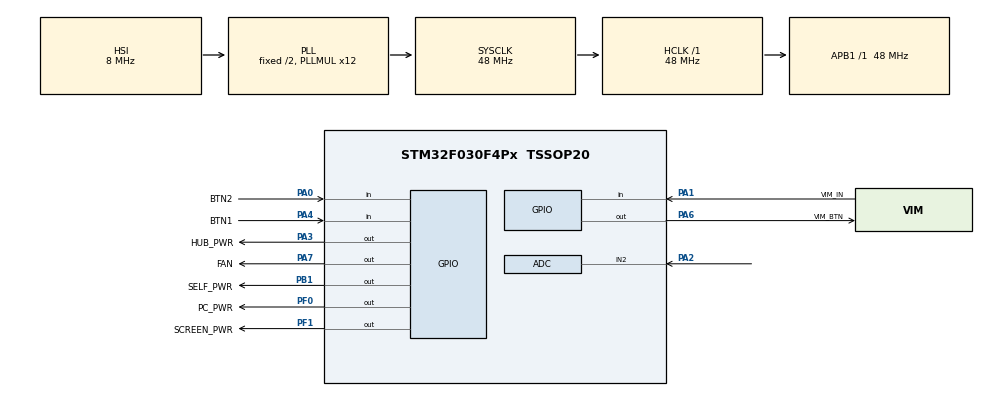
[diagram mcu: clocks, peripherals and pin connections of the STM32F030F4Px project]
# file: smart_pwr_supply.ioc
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ADC.SamplingTime=ADC_SAMPLETIME_55CYCLES_5
Mcu.Family=STM32F0
Mcu.Name=STM32F030F4Px
Mcu.Package=TSSOP20
PA0.GPIO_Label=BTN2
PA0.Signal=GPIO_Input
PA1.GPIO_Label=VIM_IN
PA1.Signal=GPIO_Input
PA13.Mode=Serial_Wire
PA13.Signal=SYS_SWDIO
PA14.Mode=Serial_Wire
PA14.Signal=SYS_SWCLK
PA2.Mode=IN2
PA2.Signal=ADC_IN2
PA3.GPIO_Label=HUB_PWR
PA3.Signal=GPIO_Output
PA4.GPIO_Label=BTN1
PA4.Signal=GPIO_Input
PA6.GPIO_Label=VIM_BTN
PA6.Signal=GPIO_Output
PA7.GPIO_Label=FAN
PA7.Signal=GPIO_Output
PB1.GPIO_Label=SELF_PWR
PB1.PinState=GPIO_PIN_SET
PB1.Signal=GPIO_Output
PF0-OSC_IN.GPIO_Label=PC_PWR
PF0-OSC_IN.Signal=GPIO_Output
PF1-OSC_OUT.GPIO_Label=SCREEN_PWR
PF1-OSC_OUT.Signal=GPIO_Output
ProjectManager.HeapSize=0x200
ProjectManager.StackSize=0x400
ProjectManager.TargetToolchain=TrueSTUDIO
RCC.AHBFreq_Value=48000000
RCC.APB1Freq_Value=48000000
RCC.APB1TimFreq_Value=48000000
RCC.HCLKFreq_Value=48000000
RCC.I2c1ClockSelection=RCC_I2C1CLKSOURCE_SYSCLK
RCC.PLLMUL=RCC_PLL_MUL12
RCC.SYSCLKFreq_VALUE=48000000
RCC.SYSCLKSource=RCC_SYSCLKSOURCE_PLLCLK
board=custom

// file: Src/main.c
/* USER CODE BEGIN Header */
/**
 ******************************************************************************
 * @file           : main.c
 * @brief          : Main program body
 ******************************************************************************
 * @attention
 *
 * <h2><center>&copy; Copyright (c) 2019 STMicroelectronics.
 * All rights reserved.</center></h2>
 *
 * This software component is licensed by ST under BSD 3-Clause license,
 * the "License"; You may not use this file except in compliance with the
 * License. You may obtain a copy of the License at:
 *                        opensource.org/licenses/BSD-3-Clause
 *
 ******************************************************************************
 */
/* USER CODE END Header */

#include "main.h"

/* USER CODE BEGIN Includes */
#include "arm_math.h"
#include "stdlib.h"
#include <stdbool.h>
#include "ssd1306.h"
#include "fonts.h"
/* USER CODE END Includes */

/* USER CODE BEGIN PTD */
const uint8_t SUSPEND_TIME=10;
const uint8_t SHUTDOWN_TIME=30;
const uint16_t SHUTDOWN_KEYPRESS_TIME=1000; //milliseconds
const uint16_t SHUTDOWN_CHECK_INTERVAL=20; //seconds
const uint8_t VIM_START_DELAY=10; //seconds
/* USER CODE END PTD */

ADC_HandleTypeDef hadc;

/* USER CODE BEGIN PV */

struct screen_str {
	bool enabled;
};

struct acc_str {
	bool enabled;
	bool low;
	uint16_t voltage;
	uint32_t time_to_suspend;
	uint32_t time_to_shutdown;
};

struct vim_str {
	bool enabled;
	bool sleep;
	bool voltage;
	uint8_t shutdown_count;
};

struct itps_str {
	bool enabled;
	uint32_t time_to_action;
};

struct hub_str {
	bool enabled;
};
struct screen_str SCREEN;
struct vim_str VIM;
struct itps_str ITPS;
struct hub_str HUB;
struct acc_str ACC;

uint32_t now, next;
float t;
/* USER CODE END PV */

void SystemClock_Config(void);
static void MX_GPIO_Init(void);
static void MX_ADC_Init(void);

/* USER CODE BEGIN 0 */
uint16_t readADC() {
	uint16_t adc = 0;
	HAL_ADC_Start(&hadc);
	if (HAL_ADC_PollForConversion(&hadc, 100) != HAL_OK) {
		Error_Handler();
	} else {
		adc = HAL_ADC_GetValue(&hadc);
	}
	HAL_ADC_Stop(&hadc);
	return adc;
}

bool checkVIM() {
	VIM.voltage = HAL_GPIO_ReadPin(GPIOA, GPIO_PIN_1);
	if (VIM.voltage == true)
		return 1;
	else
		return 0;
}

void EnableScreen(bool force) {
	if (SCREEN.enabled == false) {
		HAL_GPIO_WritePin(SCREEN_PWR_GPIO_Port, SCREEN_PWR_Pin, GPIO_PIN_SET);
		SCREEN.enabled = true;
	}
	if (force) {
		HAL_GPIO_WritePin(SCREEN_PWR_GPIO_Port, SCREEN_PWR_Pin, GPIO_PIN_SET);
		SCREEN.enabled = true;
	}
}

void EnableVIM(bool force) {
	if (VIM.enabled == false) {
		HAL_GPIO_WritePin(FAN_GPIO_Port, FAN_Pin, GPIO_PIN_SET);
		HAL_GPIO_WritePin(PC_PWR_GPIO_Port, PC_PWR_Pin, GPIO_PIN_SET);
		VIM.enabled = true;
	}
	if (force) {
		HAL_GPIO_WritePin(PC_PWR_GPIO_Port, PC_PWR_Pin, GPIO_PIN_SET);
		HAL_GPIO_WritePin(FAN_GPIO_Port, FAN_Pin, GPIO_PIN_SET);
		VIM.enabled = true;
	}
}

void EnableHUB(bool force) {
	if (HUB.enabled == false) {
		HAL_GPIO_WritePin(HUB_PWR_GPIO_Port, HUB_PWR_Pin, GPIO_PIN_SET);
		HUB.enabled = true;
	}
	if (force) {
		HAL_GPIO_WritePin(HUB_PWR_GPIO_Port, HUB_PWR_Pin, GPIO_PIN_SET);
		HUB.enabled = true;
	}
}

void DisableScreen(bool force) {
	if (SCREEN.enabled == true) {
		HAL_GPIO_WritePin(SCREEN_PWR_GPIO_Port, SCREEN_PWR_Pin, GPIO_PIN_RESET);
		SCREEN.enabled = false;
	}
	if (force) {
		HAL_GPIO_WritePin(SCREEN_PWR_GPIO_Port, SCREEN_PWR_Pin, GPIO_PIN_RESET);
		SCREEN.enabled = false;
	}
}

void DisableVIM(bool force) {
	if (VIM.enabled == true) {
		HAL_GPIO_WritePin(FAN_GPIO_Port, FAN_Pin, GPIO_PIN_RESET);
		HAL_GPIO_WritePin(PC_PWR_GPIO_Port, PC_PWR_Pin, GPIO_PIN_RESET);
		VIM.enabled = false;
		VIM.sleep = false;
	}
	if (force) {
		HAL_GPIO_WritePin(FAN_GPIO_Port, FAN_Pin, GPIO_PIN_RESET);
		HAL_GPIO_WritePin(PC_PWR_GPIO_Port, PC_PWR_Pin, GPIO_PIN_RESET);
		VIM.enabled = false;
		VIM.sleep = false;
	}
}

void DisableHUB(bool force) {
	if (HUB.enabled == true) {
		HAL_GPIO_WritePin(HUB_PWR_GPIO_Port, HUB_PWR_Pin, GPIO_PIN_RESET);
		HUB.enabled = false;
	}
	if (force) {
		HAL_GPIO_WritePin(HUB_PWR_GPIO_Port, HUB_PWR_Pin, GPIO_PIN_RESET);
		HUB.enabled = false;
	}
}

void DisableITPS() {
	HAL_GPIO_WritePin(SELF_PWR_GPIO_Port, SELF_PWR_Pin, GPIO_PIN_RESET);
	ITPS.enabled = false;
}

void SuspendVIM() {
	if (VIM.sleep == false) {
		HAL_GPIO_WritePin(VIM_BTN_GPIO_Port, VIM_BTN_Pin, GPIO_PIN_SET);
		HAL_Delay(100);
		HAL_GPIO_WritePin(VIM_BTN_GPIO_Port, VIM_BTN_Pin, GPIO_PIN_RESET);
		HAL_GPIO_WritePin(FAN_GPIO_Port, FAN_Pin, GPIO_PIN_RESET);
		VIM.sleep = true;
	}
}

void ShutdownVIM() {
	HAL_GPIO_WritePin(VIM_BTN_GPIO_Port, VIM_BTN_Pin, GPIO_PIN_SET);
	HAL_Delay(SHUTDOWN_KEYPRESS_TIME);
	HAL_GPIO_WritePin(VIM_BTN_GPIO_Port, VIM_BTN_Pin, GPIO_PIN_RESET);
}

void ResumeVIM() {
	if (VIM.sleep == true) {
		HAL_GPIO_WritePin(VIM_BTN_GPIO_Port, VIM_BTN_Pin, GPIO_PIN_SET);
		HAL_Delay(500);
		HAL_GPIO_WritePin(VIM_BTN_GPIO_Port, VIM_BTN_Pin, GPIO_PIN_RESET);
		VIM.sleep = false;
		HAL_GPIO_WritePin(FAN_GPIO_Port, FAN_Pin, GPIO_PIN_SET);
	}
}

long map(long x, long in_min, long in_max, long out_min, long out_max) {
	return (x - in_min) * (out_max - out_min) / (in_max - in_min) + out_min;
}

/* USER CODE END 0 */

int main(void)
{

  /* MCU Configuration--------------------------------------------------------*/

  /* Reset of all peripherals, Initializes the Flash interface and the Systick. */
  HAL_Init();

  /* Configure the system clock */
  SystemClock_Config();

  /* Initialize all configured peripherals */
  MX_GPIO_Init();
  MX_ADC_Init();
  /* USER CODE BEGIN 2 */
  	  RCC->APB2ENR |= RCC_APB2ENR_TIM16EN; //тактируем таймер
  	  TIM16->CR1 |= TIM_CR1_CEN; //включаем
	HAL_ADC_Stop(&hadc);
	HAL_ADCEx_Calibration_Start(&hadc);
  /* USER CODE END 2 */

  /* Infinite loop */
  /* USER CODE BEGIN WHILE */
	VIM.shutdown_count=0;
	HAL_GPIO_WritePin(SELF_PWR_GPIO_Port, SELF_PWR_Pin, GPIO_PIN_SET);
	ITPS.enabled = true;
	HUB.enabled = false;
	SCREEN.enabled = false;
	VIM.enabled = false;
	VIM.sleep = false;
	HAL_Delay(2000);
	while (readADC() < 2814) {
	}
	EnableScreen(false);
	HAL_Delay(VIM_START_DELAY*1000);
	if (readADC() >2814)
		EnableVIM(false);
	else
		DisableITPS();		//disable WHOLE Supply voltage
	HAL_Delay(2000);
	EnableHUB(false);
	while (1) {
		ACC.voltage = readADC();
		//every 100ms
		if (HAL_GetTick() >= next) {
			ACC.voltage = readADC();
			checkVIM();
			if (ACC.voltage < 3169 && ACC.time_to_suspend == 0 && ACC.time_to_shutdown == 0) //ACC Voltage below 11v
			{
				if (VIM.enabled==false)
				{
					DisableVIM(false);	//disable VIM Supply voltage
					HAL_Delay(10);
					DisableHUB(false);	//disable HUB Supply voltage
					HAL_Delay(10);
					DisableScreen(false);
					HAL_Delay(100);	//disable SCREEN Supply voltage
					DisableITPS();		//disable WHOLE Supply voltage
				}
				else
				{
					ACC.enabled = false;
					ACC.low = true;
					ACC.time_to_suspend = HAL_GetTick() + SUSPEND_TIME * 1000; //10 seconds to suspend
					ACC.time_to_shutdown = ACC.time_to_suspend + SHUTDOWN_TIME * 1000; //5 hours to shutdown
				}
			}
			if (ACC.voltage > 3169) //if ACC voltage > 12.2V! cancel suspend an resume carpc
					{
				ACC.enabled = true;
				ACC.low = false;
				ACC.time_to_suspend = 0; //
				ACC.time_to_shutdown = 0; //
			}
			next = HAL_GetTick() + 100;
		}
		if (HAL_GetTick() >= ACC.time_to_suspend && ACC.time_to_suspend != 0) {
			SuspendVIM(false);
			HAL_Delay(5000); // 5 seconds to suspend
			DisableHUB(false);
			HAL_Delay(2000);
			DisableScreen(false);
		}
		if (HAL_GetTick() >= ACC.time_to_shutdown && ACC.time_to_shutdown != 0) {
			EnableScreen(false);
			HAL_Delay(2 * 1000);
			ShutdownVIM();  //VIM starts to resume from sleep
			HAL_Delay(5 * 1000); //5 seconds to resuming
			while (checkVIM()) { // checking voltage on GPIO27 VIM's pin.
				ShutdownVIM();	// if still HIGH try shutdown again
				HAL_Delay(SHUTDOWN_CHECK_INTERVAL * 1000); //~20 seconds to shutdown OS on vim
				VIM.shutdown_count++;	//counter of shutdown tries
				if (VIM.shutdown_count>5) // maximum 4 retries
				{
					DisableVIM(false); 		//and hard off
					break;
				}
			}
			HAL_Delay(2 * 1000);
			DisableVIM(false);	//disable VIM Supply voltage
			HAL_Delay(2 * 1000);
			DisableHUB(false);	//disable HUB Supply voltage
			HAL_Delay(1000);
			DisableScreen(false);
			HAL_Delay(1000);	//disable SCREEN Supply voltage
			DisableITPS();		//disable WHOLE Supply voltage
		}
		if (ACC.time_to_suspend == 0 && VIM.sleep == true) {
			EnableScreen(false);
			HAL_Delay(2 * 1000);
			ResumeVIM(false);
			HAL_Delay(4 * 1000); //4 seconds to resume
			EnableHUB(false);
		}
		if (ACC.time_to_shutdown == 0 && VIM.enabled == false) {
			EnableScreen(false);
			HAL_Delay(2 * 1000);
			EnableVIM(false);
			HAL_Delay(2 * 1000);
			EnableHUB(false);
		}

    /* USER CODE END WHILE */

	}
}

void SystemClock_Config(void)
{
  RCC_OscInitTypeDef RCC_OscInitStruct = {0};
  RCC_ClkInitTypeDef RCC_ClkInitStruct = {0};

  /** Initializes the CPU, AHB and APB busses clocks
  */
  RCC_OscInitStruct.OscillatorType = RCC_OSCILLATORTYPE_HSI|RCC_OSCILLATORTYPE_HSI14;
  RCC_OscInitStruct.HSIState = RCC_HSI_ON;
  RCC_OscInitStruct.HSI14State = RCC_HSI14_ON;
  RCC_OscInitStruct.HSICalibrationValue = RCC_HSICALIBRATION_DEFAULT;
  RCC_OscInitStruct.HSI14CalibrationValue = 16;
  RCC_OscInitStruct.PLL.PLLState = RCC_PLL_ON;
  RCC_OscInitStruct.PLL.PLLSource = RCC_PLLSOURCE_HSI;
  RCC_OscInitStruct.PLL.PLLMUL = RCC_PLL_MUL12;
  RCC_OscInitStruct.PLL.PREDIV = RCC_PREDIV_DIV1;
  if (HAL_RCC_OscConfig(&RCC_OscInitStruct) != HAL_OK)
  {
    Error_Handler();
  }
  /** Initializes the CPU, AHB and APB busses clocks
  */
  RCC_ClkInitStruct.ClockType = RCC_CLOCKTYPE_HCLK|RCC_CLOCKTYPE_SYSCLK
                              |RCC_CLOCKTYPE_PCLK1;
  RCC_ClkInitStruct.SYSCLKSource = RCC_SYSCLKSOURCE_PLLCLK;
  RCC_ClkInitStruct.AHBCLKDivider = RCC_SYSCLK_DIV1;
  RCC_ClkInitStruct.APB1CLKDivider = RCC_HCLK_DIV1;

  if (HAL_RCC_ClockConfig(&RCC_ClkInitStruct, FLASH_LATENCY_1) != HAL_OK)
  {
    Error_Handler();
  }
}

static void MX_ADC_Init(void)
{

  ADC_ChannelConfTypeDef sConfig = {0};

  /** Configure the global features of the ADC (Clock, Resolution, Data Alignment and number of conversion)
  */
  hadc.Instance = ADC1;
  hadc.Init.ClockPrescaler = ADC_CLOCK_ASYNC_DIV1;
  hadc.Init.Resolution = ADC_RESOLUTION_12B;
  hadc.Init.DataAlign = ADC_DATAALIGN_RIGHT;
  hadc.Init.ScanConvMode = ADC_SCAN_DIRECTION_FORWARD;
  hadc.Init.EOCSelection = ADC_EOC_SINGLE_CONV;
  hadc.Init.LowPowerAutoWait = DISABLE;
  hadc.Init.LowPowerAutoPowerOff = DISABLE;
  hadc.Init.ContinuousConvMode = DISABLE;
  hadc.Init.DiscontinuousConvMode = DISABLE;
  hadc.Init.ExternalTrigConv = ADC_SOFTWARE_START;
  hadc.Init.ExternalTrigConvEdge = ADC_EXTERNALTRIGCONVEDGE_NONE;
  hadc.Init.DMAContinuousRequests = DISABLE;
  hadc.Init.Overrun = ADC_OVR_DATA_PRESERVED;
  if (HAL_ADC_Init(&hadc) != HAL_OK)
  {
    Error_Handler();
  }
  /** Configure for the selected ADC regular channel to be converted.
  */
  sConfig.Channel = ADC_CHANNEL_2;
  sConfig.Rank = ADC_RANK_CHANNEL_NUMBER;
  sConfig.SamplingTime = ADC_SAMPLETIME_55CYCLES_5;
  if (HAL_ADC_ConfigChannel(&hadc, &sConfig) != HAL_OK)
  {
    Error_Handler();
  }

}

static void MX_GPIO_Init(void)
{
  GPIO_InitTypeDef GPIO_InitStruct = {0};

  /* GPIO Ports Clock Enable */
  __HAL_RCC_GPIOF_CLK_ENABLE();
  __HAL_RCC_GPIOA_CLK_ENABLE();
  __HAL_RCC_GPIOB_CLK_ENABLE();

  /*Configure GPIO pin Output Level */
  HAL_GPIO_WritePin(GPIOF, PC_PWR_Pin|SCREEN_PWR_Pin, GPIO_PIN_RESET);

  /*Configure GPIO pin Output Level */
  HAL_GPIO_WritePin(GPIOA, HUB_PWR_Pin|VIM_BTN_Pin|FAN_Pin, GPIO_PIN_RESET);

  /*Configure GPIO pin Output Level */
  HAL_GPIO_WritePin(SELF_PWR_GPIO_Port, SELF_PWR_Pin, GPIO_PIN_SET);

  /*Configure GPIO pins : PC_PWR_Pin SCREEN_PWR_Pin */
  GPIO_InitStruct.Pin = PC_PWR_Pin|SCREEN_PWR_Pin;
  GPIO_InitStruct.Mode = GPIO_MODE_OUTPUT_PP;
  GPIO_InitStruct.Pull = GPIO_NOPULL;
  GPIO_InitStruct.Speed = GPIO_SPEED_FREQ_LOW;
  HAL_GPIO_Init(GPIOF, &GPIO_InitStruct);

  /*Configure GPIO pins : BTN2_Pin VIM_IN_Pin BTN1_Pin */
  GPIO_InitStruct.Pin = BTN2_Pin|VIM_IN_Pin|BTN1_Pin;
  GPIO_InitStruct.Mode = GPIO_MODE_INPUT;
  GPIO_InitStruct.Pull = GPIO_NOPULL;
  HAL_GPIO_Init(GPIOA, &GPIO_InitStruct);

  /*Configure GPIO pins : HUB_PWR_Pin VIM_BTN_Pin FAN_Pin */
  GPIO_InitStruct.Pin = HUB_PWR_Pin|VIM_BTN_Pin|FAN_Pin;
  GPIO_InitStruct.Mode = GPIO_MODE_OUTPUT_PP;
  GPIO_InitStruct.Pull = GPIO_NOPULL;
  GPIO_InitStruct.Speed = GPIO_SPEED_FREQ_LOW;
  HAL_GPIO_Init(GPIOA, &GPIO_InitStruct);

  /*Configure GPIO pin : SELF_PWR_Pin */
  GPIO_InitStruct.Pin = SELF_PWR_Pin;
  GPIO_InitStruct.Mode = GPIO_MODE_OUTPUT_PP;
  GPIO_InitStruct.Pull = GPIO_NOPULL;
  GPIO_InitStruct.Speed = GPIO_SPEED_FREQ_LOW;
  HAL_GPIO_Init(SELF_PWR_GPIO_Port, &GPIO_InitStruct);

}

void Error_Handler(void)
{
}

/************************ (C) COPYRIGHT STMicroelectronics *****END OF FILE****/
